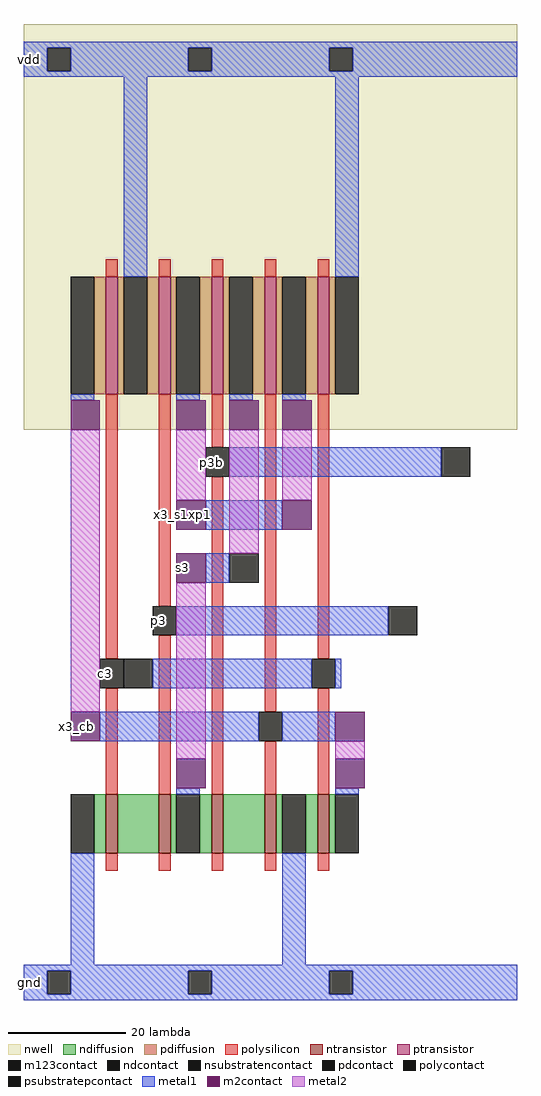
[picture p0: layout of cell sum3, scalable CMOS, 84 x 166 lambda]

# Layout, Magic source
magic
tech scmos
<< nwell >>
rect 0 97 84 166
<< ntransistor >>
rect 14 25 16 35
rect 23 25 25 35
rect 32 25 34 35
rect 41 25 43 35
rect 50 25 52 35
<< ptransistor >>
rect 14 103 16 123
rect 23 103 25 123
rect 32 103 34 123
rect 41 103 43 123
rect 50 103 52 123
<< ndiffusion >>
rect 12 25 14 35
rect 16 25 23 35
rect 25 25 26 35
rect 30 25 32 35
rect 34 25 41 35
rect 43 25 44 35
rect 48 25 50 35
rect 52 25 53 35
<< pdiffusion >>
rect 12 103 14 123
rect 16 103 17 123
rect 21 103 23 123
rect 25 103 26 123
rect 30 103 32 123
rect 34 103 35 123
rect 39 103 41 123
rect 43 103 44 123
rect 48 103 50 123
rect 52 103 53 123
<< ndcontact >>
rect 8 25 12 35
rect 26 25 30 35
rect 44 25 48 35
rect 53 25 57 35
<< pdcontact >>
rect 8 103 12 123
rect 17 103 21 123
rect 26 103 30 123
rect 35 103 39 123
rect 44 103 48 123
rect 53 103 57 123
<< psubstratepcontact >>
rect 4 1 8 5
rect 28 1 32 5
rect 52 1 56 5
<< nsubstratencontact >>
rect 4 158 8 162
rect 28 158 32 162
rect 52 158 56 162
<< polysilicon >>
rect 14 123 16 126
rect 23 123 25 126
rect 32 123 34 126
rect 41 123 43 126
rect 50 123 52 126
rect 14 58 16 103
rect 23 67 25 103
rect 32 94 34 103
rect 14 35 16 53
rect 23 35 25 62
rect 32 35 34 89
rect 41 49 43 103
rect 50 58 52 103
rect 41 35 43 44
rect 50 35 52 53
rect 14 22 16 25
rect 23 22 25 25
rect 32 22 34 25
rect 41 22 43 25
rect 50 22 52 25
<< polycontact >>
rect 31 89 35 94
rect 22 62 26 67
rect 13 53 17 58
rect 49 53 53 58
rect 40 44 44 49
<< metal1 >>
rect 0 162 84 163
rect 0 158 4 162
rect 8 158 28 162
rect 32 158 52 162
rect 56 158 84 162
rect 0 157 84 158
rect 17 123 21 157
rect 53 123 57 157
rect 8 102 12 103
rect 26 102 30 103
rect 35 102 39 103
rect 44 102 48 103
rect 35 89 71 94
rect 31 80 44 85
rect 31 71 35 76
rect 26 62 62 67
rect 22 53 49 58
rect 53 53 54 58
rect 13 44 40 49
rect 44 44 53 49
rect 26 35 30 36
rect 53 35 57 36
rect 8 6 12 25
rect 44 6 48 25
rect 0 5 84 6
rect 0 1 4 5
rect 8 1 28 5
rect 32 1 52 5
rect 56 1 84 5
rect 0 0 84 1
<< m2contact >>
rect 8 97 13 102
rect 26 97 31 102
rect 35 97 40 102
rect 44 97 49 102
rect 26 80 31 85
rect 44 80 49 85
rect 26 71 31 76
rect 8 44 13 49
rect 53 44 58 49
rect 26 36 31 41
rect 53 36 58 41
<< metal2 >>
rect 8 49 13 97
rect 26 85 31 97
rect 35 76 40 97
rect 44 85 49 97
rect 26 41 31 71
rect 53 41 58 44
<< m123contact >>
rect 71 89 76 94
rect 35 71 40 76
rect 17 53 22 58
rect 62 62 67 67
<< labels >>
rlabel metal1 13 53 15 58 0 c3
port 1 nsew
rlabel metal1 22 62 24 67 0 p3
port 2 nsew
rlabel metal1 31 89 33 94 0 p3b
port 3 nsew
rlabel m2contact 26 71 28 76 0 s3
port 4 nsew
rlabel m2contact 8 44 10 49 0 x3_cb
rlabel m2contact 26 80 28 85 0 x3_s1xp1
rlabel metal1 0 157 2 163 0 vdd
port 5 nsew
rlabel metal1 0 0 2 6 0 gnd
port 6 nsew
<< end >>
